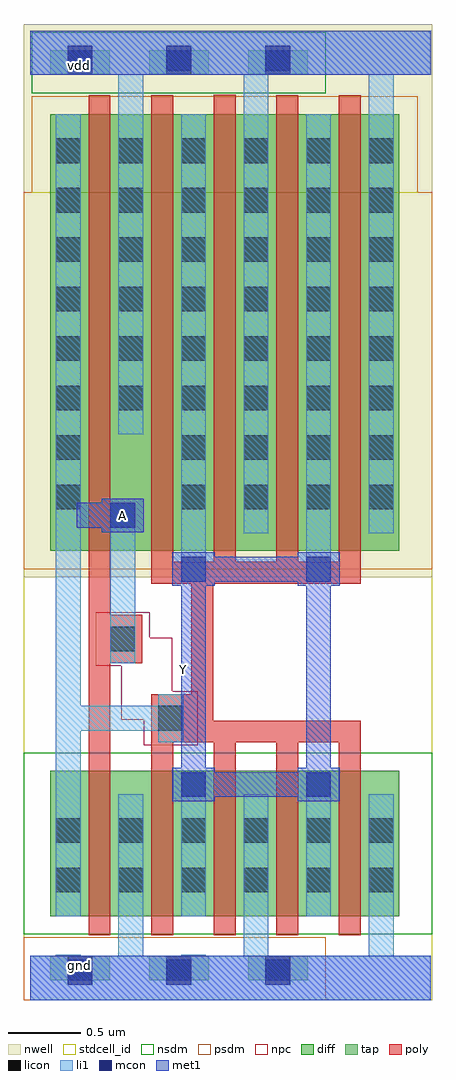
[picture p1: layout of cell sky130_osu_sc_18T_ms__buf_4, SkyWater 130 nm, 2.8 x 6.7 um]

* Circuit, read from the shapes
.subckt sky130_osu_sc_18T_ms__buf_4 A Y gnd vdd
XM1 gnd A n1 gnd sky130_fd_pr__nfet_01v8 w=1 l=0.15
XM2 Y n1 gnd gnd sky130_fd_pr__nfet_01v8 w=1 l=0.15 m=4
XM3 vdd A n1 vdd sky130_fd_pr__pfet_01v8 w=3 l=0.15
XM4 Y n1 vdd vdd sky130_fd_pr__pfet_01v8 w=3 l=0.15 m=4
.ends

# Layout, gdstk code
import gdstk
lib = gdstk.Library(unit=1e-6, precision=1e-09)
def R(c, l, rs):  # rectangles x0, y0, x1, y1
    for r in rs: c.add(gdstk.rectangle(r[:2], r[2:], *l))
def A(c, l, x, y, w, h, nx, ny, dx, dy):  # array of equal rectangles
    R(c, l, [(x+i*dx, y+j*dy, x+i*dx+w, y+j*dy+h) for i in range(nx) for j in range(ny)])
nwell = (64, 20)
diff = (65, 20)
tap = (65, 44)
poly = (66, 20)
licon = (66, 44)
li1 = (67, 20)
mcon = (67, 44)
met1 = (68, 20)
stdcell_id = (81, 4)
nsdm = (93, 44)
psdm = (94, 20)
npc = (95, 20)

sky130_osu_sc_18t_ms__bu = lib.new_cell('sky130_osu_sc_18T_ms__buf_4')
R(sky130_osu_sc_18t_ms__bu, nwell, [(-0.045,2.905,2.76,6.705)])
R(sky130_osu_sc_18t_ms__bu, diff, [(0.135,0.575,2.535,1.575), (0.135,3.085,2.535,6.085)])
A(sky130_osu_sc_18t_ms__bu, tap, 0.135, 0.135, 0.41, 0.17, 3, 2, 0.68, 6.22)
A(sky130_osu_sc_18t_ms__bu, poly, 0.83, 0.445, 0.15, 1.325, 4, 1, 0.43, 0)
R(sky130_osu_sc_18t_ms__bu, poly, [(0.4,0.445,0.55,2.315), (0.83,1.77,2.27,1.92), (0.83,1.92,1.255,2.1), (1.105,2.1,1.255,2.86), (0.4,2.315,0.77,2.645), (0.4,2.645,0.55,6.215), (0.83,2.86,2.27,3.01), (0.83,3.01,0.98,6.215), (1.26,3.01,1.41,6.22), (1.69,3.01,1.84,6.215), (2.12,3.01,2.27,6.215)])
A(sky130_osu_sc_18t_ms__bu, licon, 0.255, 0.135, 0.17, 0.17, 3, 2, 0.68, 6.22)
A(sky130_osu_sc_18t_ms__bu, licon, 0.175, 0.74, 0.17, 0.17, 6, 2, 0.43, 0.34)
A(sky130_osu_sc_18t_ms__bu, licon, 1.035, 3.37, 0.17, 0.17, 4, 2, 0.43, 0.34)
A(sky130_osu_sc_18t_ms__bu, licon, 0.175, 4.05, 0.17, 0.17, 6, 6, 0.43, 0.34)
R(sky130_osu_sc_18t_ms__bu, licon, [(0.88,1.85,1.05,2.02), (0.55,2.395,0.72,2.565), (0.175,3.37,0.345,3.54), (0.175,3.71,0.345,3.88)])
A(sky130_osu_sc_18t_ms__bu, li1, 0.605, 0.305, 0.17, 1.11, 3, 1, 0.86, 0)
R(sky130_osu_sc_18t_ms__bu, li1, [(0,0,2.75,0.305), (0.175,0.305,0.345,0.31), (1.035,0.305,1.205,0.31), (0.175,0.575,0.345,1.85), (1.035,0.575,1.205,1.565), (1.895,0.575,2.065,1.565), (0.88,1.77,1.05,1.85), (0.175,1.85,1.05,2.02), (0.175,2.02,0.345,6.085), (0.88,2.02,1.05,2.1), (0.55,2.315,0.72,3.415), (1.035,2.875,1.205,6.085), (1.895,2.875,2.065,6.085), (1.465,3.205,1.635,6.355), (2.325,3.205,2.495,6.355), (0.605,3.885,0.775,6.355), (0,6.355,2.75,6.66)])
A(sky130_osu_sc_18t_ms__bu, mcon, 0.255, 0.105, 0.17, 0.17, 3, 2, 0.68, 6.28)
R(sky130_osu_sc_18t_ms__bu, mcon, [(1.035,1.395,1.205,1.565), (1.895,1.395,2.065,1.565), (1.035,2.875,1.205,3.045), (1.895,2.875,2.065,3.045), (0.55,3.245,0.72,3.415)])
R(sky130_osu_sc_18t_ms__bu, met1, [(0,0,2.75,0.305), (0.975,1.365,1.265,1.395), (1.835,1.365,2.125,1.395), (0.975,1.395,2.125,1.565), (0.975,1.565,1.265,1.595), (1.835,1.565,2.125,1.595), (1.035,1.595,1.205,2.845), (1.895,1.595,2.065,2.845), (0.975,2.845,1.265,2.875), (1.835,2.845,2.125,2.875), (0.975,2.875,2.125,3.045), (0.975,3.045,1.265,3.075), (1.835,3.045,2.125,3.075), (0.49,3.215,0.78,3.245), (0.32,3.245,0.78,3.415), (0.49,3.415,0.78,3.445), (0,6.355,2.75,6.66)])
R(sky130_osu_sc_18t_ms__bu, stdcell_id, [(-0.045,0,2.76,5.55)])
R(sky130_osu_sc_18t_ms__bu, nsdm, [(-0.045,0.45,2.76,1.7), (0.01,6.23,2.03,6.65)])
R(sky130_osu_sc_18t_ms__bu, psdm, [(-0.045,0,2.03,0.43), (-0.045,2.96,2.76,5.55), (0.01,5.55,2.66,6.21)])
R(sky130_osu_sc_18t_ms__bu, npc, [(0.78,1.75,1.15,1.925), (0.625,1.925,1.15,2.12), (0.625,2.12,0.975,2.295), (0.45,2.295,0.975,2.49), (0.45,2.49,0.82,2.665)])
sky130_osu_sc_18t_ms__bu.add(gdstk.Label('gnd', (0.34,0.24), layer=68, texttype=16))
sky130_osu_sc_18t_ms__bu.add(gdstk.Label('vdd', (0.34,6.42), layer=68, texttype=16))
sky130_osu_sc_18t_ms__bu.add(gdstk.Label('A', (0.635,3.33), layer=68, texttype=5))
sky130_osu_sc_18t_ms__bu.add(gdstk.Label('Y', (1.055,2.27), layer=68, texttype=5))

lib.write_gds('sky130_osu_sc_18T_ms__buf_4.gds')
